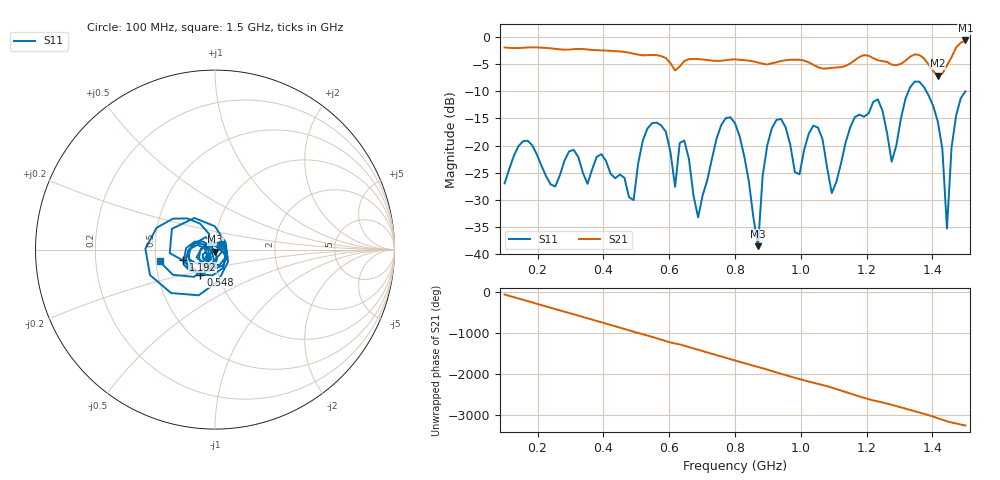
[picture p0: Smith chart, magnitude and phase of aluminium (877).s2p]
! NanoVNA-App
! Date: 2025-09-25 15:02:06
! Start: 100MHz Stop: 1,5GHz Points: 101
! S-Parameter data: F S11 S21 S12 S22
# Hz S RI R 50
!  Frequency  S11_Real  S11_Imag  S21_Real  S21_Imag  S12_Real  S12_Imag  S22_Real  S22_Imag
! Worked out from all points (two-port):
!   101 points, 100 MHz to 1.5 GHz, reference 50 ohm
!   highest |S21| = -0.63 dB at 1.5 GHz (marker M1); lowest = -7.1 dB at 1.416 GHz (marker M2)
!   |S21| within 3 dB of the highest: start of sweep to 580.7 MHz; 1.459 GHz to end of sweep (the widest 2 of 4)
!   lowest |S11| = -38.5 dB at 870 MHz (marker M3), VSWR 1.02, Z = 50.1 - j1.18 ohm
!   |S11| at or under -10 dB: start of sweep to 1.327 GHz; 1.381 GHz to end of sweep
!   S12 and S22 are empty: the file has one direction only
!   S11 on the Smith chart (normalised r, x): 100 MHz: 1.07, +0.06; 548 MHz: 0.82, -0.23; 1.192 GHz: 0.70, -0.08; 1.5 GHz: 0.52, -0.08
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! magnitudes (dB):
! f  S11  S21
! 100 MHz  -27.0  -1.9
! 338 MHz  -25.0  -2.2
! 492 MHz  -30.0  -3.1
! 548 MHz  -15.9  -3.3
! 576 MHz  -16.3  -3.5
! 618 MHz  -27.6  -6.2
! 646 MHz  -19.1  -4.4
! 688 MHz  -33.2  -4.1
! 800 MHz  -15.9  -4.1
! 870 MHz  -38.5  -4.7
! 912 MHz  -16.8  -4.8
! 996 MHz  -25.3  -4.2
! 1.038 GHz  -16.3  -5.1
! 1.094 GHz  -28.7  -5.7
! 1.192 GHz  -14.7  -3.3
! 1.234 GHz  -11.5  -4.3
! 1.276 GHz  -22.9  -5.1
! 1.346 GHz  -8.2  -3.2
! 1.416 GHz  -15.5  -7.1
! 1.444 GHz  -35.3  -5.2
! 1.458 GHz  -20.3  -3.7
! 1.5 GHz  -10.0  -0.6
